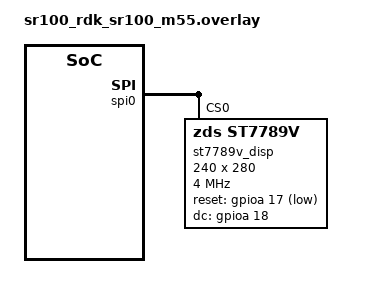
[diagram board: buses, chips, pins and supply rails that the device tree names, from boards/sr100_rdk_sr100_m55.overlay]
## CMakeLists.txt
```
cmake_minimum_required(VERSION 3.20.0)

# Custom "zds,st7789v" devicetree binding (same as Lab 11/12) -- DTS_ROOT
# must be extended BEFORE find_package(Zephyr...) runs, or the
# devicetree compiler won't find it.
list(APPEND DTS_ROOT ${CMAKE_CURRENT_SOURCE_DIR})

find_package(Zephyr REQUIRED HINTS $ENV{ZEPHYR_BASE})
project(lab13_uart_bridge_host)

target_sources(app PRIVATE src/main.c)
target_include_directories(app PRIVATE include)
```

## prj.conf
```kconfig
CONFIG_MBOX=y
CONFIG_SPI=y
CONFIG_GPIO=y
# No CONFIG_DISPLAY / CONFIG_CHARACTER_FRAMEBUFFER / CONFIG_ST7789V -- same
# raw-SPI approach as Lab 11/12 (see Lab 11's prj.conf comment).
CONFIG_MAIN_STACK_SIZE=4096
# ns16550_uart1 (M55's only UART/console) is disabled in the devicetree
# overlay because SPI0 reuses its pins -- see Lab 11's prj.conf comment
# for why CONFIG_UART_CONSOLE=n/CONFIG_CONSOLE=n (and NOT CONFIG_SERIAL=n)
# is the correct fix. This does NOT affect M4's own console UART, which
# this lab's new command channel uses -- that one is untouched here.
CONFIG_UART_CONSOLE=n
CONFIG_CONSOLE=n
CONFIG_LOG=y
CONFIG_LOG_DEFAULT_LEVEL=3
CONFIG_PRINTK=y
```

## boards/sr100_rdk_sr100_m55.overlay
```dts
#include <zephyr/dt-bindings/gpio/gpio.h>

/* Lab 13 reuses this overlay UNCHANGED from Lab 12 -- same TFT wiring on
 * SPI0, no new hardware. */

/* ipc0 shared-memory-size must match the M4 overlay in remote/boards/ exactly. */
&ipc0 {
	shared-memory-size = <0x400>;
};

/*
 * This lab's sensors (AHT20+BMP280) live on M4's &i2c0, not the shared
 * &i2c1 bus -- so unlike every other lab in this curriculum, M55
 * disabling &i2c1 here isn't strictly required for THIS lab's own
 * sensors. It's kept anyway for consistency with the rest of the
 * curriculum (M55 never uses i2c1 in any lab) and because it's harmless.
 */
&i2c1 {
	status = "disabled";
};

&gpio_exp0 {
	status = "disabled";
};

&ov02c10 {
	status = "disabled";
};

/*
 * ST7789V3 1.69" 240x280 color TFT on M55's SPI0 -- identical setup to
 * Lab 11 (same panel, same wiring, same raw-SPI "zds,st7789v" custom
 * binding). See Lab 11's doc/README for the full rationale (why raw SPI
 * instead of Zephyr's in-tree display driver, the level-shifter
 * requirement, the SPI0 FIFO chunking, and the SPI0/UART1 console pin
 * conflict this creates).
 */
&ns16550_uart1 {
	status = "disabled";
};

&spi0 {
	#address-cells = <1>;
	#size-cells = <0>;
	status = "okay";
	pinctrl-0 = <&spi_mstr_mosi &spi_mstr_miso &spi_mstr_clk &spi_mstr_cs>;
	pinctrl-names = "default";

	st7789v_disp: st7789v@0 {
		compatible = "zds,st7789v";
		reg = <0>;
		spi-max-frequency = <4000000>;
		reset-gpios = <&gpioa 17 GPIO_ACTIVE_LOW>;  /* SoC GPIO17, J24 pin 3 - through level shifter */
		dc-gpios = <&gpioa 18 GPIO_ACTIVE_HIGH>;    /* SoC GPIO18, J24 pin 4 - through level shifter */
		width = <240>;
		height = <280>;
		x-offset = <0>;
		y-offset = <20>;
	};
};
```

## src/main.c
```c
/*
 * Lab 13: UART Bridge (HOST, M55)
 *
 * Same ST7789V3 TFT hardware setup as Lab 11/12 (identical panel,
 * identical SPI0/RESET/DC wiring, identical raw-SPI driver -- see this
 * lab's doc/13_uart_bridge_kr.md for the full pin table and
 * level-shifter rationale, reproduced there rather than only in Lab
 * 11/12's docs, since each lab in this curriculum is meant to be
 * buildable and understandable on its own) and the same two independent
 * fault indicators (connection status, sensor status) from Lab 12.
 *
 * NEW in this lab: M55 also answers operator commands relayed from M4's
 * console UART (see M4's main.c and this lab's doc). Two things arrive
 * on the SAME mbox rx channel now, told apart by `ipc13_msg.type`:
 *   - IPC13_MSG_ENV: routed to env_msgq, handled by Display_Task exactly
 *     as Lab 12's env messages were.
 *   - IPC13_MSG_CMD: routed to cmd_msgq, handled by the new Cmd_Task,
 *     which replies on the SAME mbox tx channel with an IPC13_MSG_RESP.
 * `latest` (the most recent sensor reading + connection state) is
 * written only by Display_Task and read only by Cmd_Task (for the
 * STATUS command), guarded by `latest_lock` so a command answered mid-
 * update can't see a half-written value.
 *
 * `display_mode` (set by the MODE command) is a plain atomic_t rather
 * than a mutex-guarded struct, since it's a single word Cmd_Task writes
 * and Display_Task reads -- see draw_extra_line().
 */

#include <zephyr/kernel.h>
#include <zephyr/device.h>
#include <zephyr/devicetree.h>
#include <zephyr/drivers/spi.h>
#include <zephyr/drivers/gpio.h>
#include <zephyr/drivers/mbox.h>
#include <zephyr/logging/log.h>
#include <zephyr/sys/util.h>
#include <zephyr/sys/atomic.h>
#include <stdbool.h>
#include <stdio.h>
#include <string.h>
#include <stdlib.h>
#include "ipc_common.h"

LOG_MODULE_REGISTER(lab13_host, CONFIG_LOG_DEFAULT_LEVEL);

#define TASK_STACK_SIZE 2048
#define TASK_PRIORITY   4
#define CMD_TASK_STACK_SIZE 1536
#define CMD_TASK_PRIORITY   4
#define POLL_TIMEOUT_MS 500
#define CONN_TIMEOUT_MS 2000

K_THREAD_STACK_DEFINE(task_stack, TASK_STACK_SIZE);
static struct k_thread task_data;
K_THREAD_STACK_DEFINE(cmd_task_stack, CMD_TASK_STACK_SIZE);
static struct k_thread cmd_task_data;

K_MSGQ_DEFINE(env_msgq, sizeof(struct ipc13_env_payload), 4, 4);
K_MSGQ_DEFINE(cmd_msgq, sizeof(struct ipc13_cmd_payload), 4, 4);

static struct mbox_dt_spec tx_channel;

static ATOMIC_DEFINE(display_mode, 1);

enum conn_state { CONN_WAITING, CONN_OK, CONN_LOST };

static struct k_mutex latest_lock;
static struct ipc13_env_payload latest_env;
static enum conn_state latest_state = CONN_WAITING;

#define DISP_NODE DT_NODELABEL(st7789v_disp)

#define PANEL_WIDTH   DT_PROP(DISP_NODE, width)
#define PANEL_HEIGHT  DT_PROP(DISP_NODE, height)
#define X_OFFSET      DT_PROP(DISP_NODE, x_offset)
#define Y_OFFSET      DT_PROP(DISP_NODE, y_offset)

#define ST7789_SWRESET   0x01
#define ST7789_SLPOUT    0x11
#define ST7789_COLMOD    0x3A
#define ST7789_MADCTL    0x36
#define ST7789_INVON     0x21
#define ST7789_NORON     0x13
#define ST7789_DISPON    0x29
#define ST7789_CASET     0x2A
#define ST7789_RASET     0x2B
#define ST7789_RAMWR     0x2C
#define ST7789_PORCTRL   0xB2
#define ST7789_GCTRL     0xB7
#define ST7789_VCOMS     0xBB
#define ST7789_LCMCTRL   0xC0
#define ST7789_VDVVRHEN  0xC2
#define ST7789_VRHS      0xC3
#define ST7789_VDVS      0xC4
#define ST7789_FRCTRL2   0xC6
#define ST7789_PWCTRL1   0xD0
#define ST7789_PVGAMCTRL 0xE0
#define ST7789_NVGAMCTRL 0xE1

#define COLOR_BLACK   0x0000
#define COLOR_WHITE   0xFFFF
#define COLOR_RED     0xF800
#define COLOR_GREEN   0x07E0
#define COLOR_YELLOW  0xFFE0
#define COLOR_CYAN    0x07FF
#define COLOR_GRAY    0x8410

static const struct spi_dt_spec spi_spec =
	SPI_DT_SPEC_GET(DISP_NODE, SPI_WORD_SET(8) | SPI_TRANSFER_MSB, 0);
static const struct gpio_dt_spec reset_spec = GPIO_DT_SPEC_GET(DISP_NODE, reset_gpios);
static const struct gpio_dt_spec dc_spec = GPIO_DT_SPEC_GET(DISP_NODE, dc_gpios);

struct glyph {
	char ch;
	uint8_t cols[5];
};

/* Same 5x7 font table as Lab 12 -- unchanged, no new characters needed
 * for this lab's own strings. */
static const struct glyph font5x7[] = {
	{' ', {0x00, 0x00, 0x00, 0x00, 0x00}},
	{'-', {0x08, 0x08, 0x08, 0x08, 0x08}},
	{':', {0x00, 0x36, 0x36, 0x00, 0x00}},
	{'.', {0x00, 0x60, 0x60, 0x00, 0x00}},
	{'%', {0x23, 0x13, 0x08, 0x64, 0x62}},
	{'0', {0x3E, 0x51, 0x49, 0x45, 0x3E}},
	{'1', {0x00, 0x42, 0x7F, 0x40, 0x00}},
	{'2', {0x62, 0x51, 0x49, 0x49, 0x46}},
	{'3', {0x22, 0x41, 0x49, 0x49, 0x36}},
	{'4', {0x18, 0x14, 0x12, 0x7F, 0x10}},
	{'5', {0x27, 0x45, 0x45, 0x45, 0x39}},
	{'6', {0x3C, 0x4A, 0x49, 0x49, 0x30}},
	{'7', {0x01, 0x71, 0x09, 0x05, 0x03}},
	{'8', {0x36, 0x49, 0x49, 0x49, 0x36}},
	{'9', {0x06, 0x49, 0x49, 0x29, 0x1E}},
	{'A', {0x7E, 0x11, 0x11, 0x11, 0x7E}},
	{'B', {0x7F, 0x49, 0x49, 0x49, 0x36}},
	{'C', {0x3E, 0x41, 0x41, 0x41, 0x22}},
	{'D', {0x7F, 0x41, 0x41, 0x22, 0x1C}},
	{'E', {0x7F, 0x49, 0x49, 0x49, 0x41}},
	{'G', {0x3E, 0x41, 0x49, 0x49, 0x7A}},
	{'H', {0x7F, 0x08, 0x08, 0x08, 0x7F}},
	{'I', {0x00, 0x41, 0x7F, 0x41, 0x00}},
	{'K', {0x7F, 0x08, 0x14, 0x22, 0x41}},
	{'L', {0x7F, 0x40, 0x40, 0x40, 0x40}},
	{'M', {0x7F, 0x02, 0x0C, 0x02, 0x7F}},
	{'N', {0x7F, 0x02, 0x04, 0x08, 0x7F}},
	{'O', {0x3E, 0x41, 0x41, 0x41, 0x3E}},
	{'P', {0x7F, 0x09, 0x09, 0x09, 0x06}},
	{'Q', {0x3E, 0x41, 0x51, 0x21, 0x5E}},
	{'R', {0x7F, 0x09, 0x19, 0x29, 0x46}},
	{'S', {0x46, 0x49, 0x49, 0x49, 0x31}},
	{'T', {0x01, 0x01, 0x7F, 0x01, 0x01}},
	{'U', {0x3F, 0x40, 0x40, 0x40, 0x3F}},
	{'V', {0x1F, 0x20, 0x40, 0x20, 0x1F}},
	{'X', {0x63, 0x14, 0x08, 0x14, 0x63}},
	{'Y', {0x07, 0x08, 0x70, 0x08, 0x07}},
	{'Z', {0x61, 0x51, 0x49, 0x45, 0x43}},
	{'a', {0x20, 0x54, 0x54, 0x54, 0x78}},
	{'h', {0x7F, 0x08, 0x04, 0x04, 0x78}},
};

static const uint8_t *glyph_lookup(char c)
{
	static const uint8_t blank[5] = {0x00, 0x00, 0x00, 0x00, 0x00};

	for (size_t i = 0; i < ARRAY_SIZE(font5x7); i++) {
		if (font5x7[i].ch == c) {
			return font5x7[i].cols;
		}
	}
	return blank;
}

#define ST7789_CHUNK_BYTES 8

static int st7789_send(int dc_value, const uint8_t *data, size_t len)
{
	int ret;

	gpio_pin_set_dt(&dc_spec, dc_value);

	while (len) {
		size_t chunk = MIN(len, ST7789_CHUNK_BYTES);
		struct spi_buf buf = { .buf = (void *)data, .len = chunk };
		struct spi_buf_set set = { .buffers = &buf, .count = 1 };

		ret = spi_write_dt(&spi_spec, &set);
		if (ret) {
			LOG_ERR("spi_write_dt(dc=%d, len=%zu) failed, ret=%d", dc_value, chunk, ret);
			return ret;
		}
		data += chunk;
		len -= chunk;
	}

	return 0;
}

static int st7789_write_cmd(uint8_t cmd)
{
	return st7789_send(0, &cmd, 1);
}

static int st7789_write_data(const uint8_t *data, size_t len)
{
	return st7789_send(1, data, len);
}

static int st7789_reset(void)
{
	int ret = gpio_pin_configure_dt(&reset_spec, GPIO_OUTPUT_INACTIVE);

	if (ret) {
		return ret;
	}
	k_sleep(K_MSEC(10));
	gpio_pin_set_dt(&reset_spec, 1);
	k_sleep(K_MSEC(10));
	gpio_pin_set_dt(&reset_spec, 0);
	k_sleep(K_MSEC(150));

	return 0;
}

struct st7789_init_cmd {
	uint8_t cmd;
	uint8_t num_args;
	uint8_t args[16];
	uint16_t delay_ms;
};

static const struct st7789_init_cmd init_seq[] = {
	{ ST7789_SWRESET,   0, {0}, 150 },
	{ ST7789_SLPOUT,    0, {0}, 255 },
	{ ST7789_COLMOD,    1, {0x55}, 10 },
	{ ST7789_PORCTRL,   5, {0x0C, 0x0C, 0x00, 0x33, 0x33}, 0 },
	{ ST7789_GCTRL,     1, {0x35}, 0 },
	{ ST7789_VCOMS,     1, {0x28}, 0 },
	{ ST7789_LCMCTRL,   1, {0x0C}, 0 },
	{ ST7789_VDVVRHEN,  2, {0x01, 0xFF}, 0 },
	{ ST7789_VRHS,      1, {0x10}, 0 },
	{ ST7789_VDVS,      1, {0x20}, 0 },
	{ ST7789_FRCTRL2,   1, {0x0F}, 0 },
	{ ST7789_PWCTRL1,   2, {0xA4, 0xA1}, 0 },
	{ ST7789_MADCTL,    1, {0x00}, 0 },
	{ ST7789_INVON,     0, {0}, 10 },
	{ ST7789_PVGAMCTRL, 14, {0xD0, 0x00, 0x02, 0x07, 0x0A, 0x28, 0x32, 0x44,
				 0x42, 0x06, 0x0E, 0x12, 0x14, 0x17}, 0 },
	{ ST7789_NVGAMCTRL, 14, {0xD0, 0x00, 0x02, 0x07, 0x05, 0x25, 0x2D, 0x44,
				 0x45, 0x10, 0x0E, 0x12, 0x13, 0x17}, 0 },
	{ ST7789_NORON,     0, {0}, 10 },
	{ ST7789_DISPON,    0, {0}, 100 },
};

static int st7789_init(void)
{
	int ret;

	for (size_t i = 0; i < ARRAY_SIZE(init_seq); i++) {
		ret = st7789_write_cmd(init_seq[i].cmd);
		if (ret) return ret;

		if (init_seq[i].num_args) {
			ret = st7789_write_data(init_seq[i].args, init_seq[i].num_args);
			if (ret) return ret;
		}
		if (init_seq[i].delay_ms) {
			k_sleep(K_MSEC(init_seq[i].delay_ms));
		}
	}

	return 0;
}

static int st7789_set_addr_window(uint16_t x0, uint16_t y0, uint16_t x1, uint16_t y1)
{
	uint16_t xs = x0 + X_OFFSET, xe = x1 + X_OFFSET;
	uint16_t ys = y0 + Y_OFFSET, ye = y1 + Y_OFFSET;
	uint8_t caset[4] = { xs >> 8, xs & 0xFF, xe >> 8, xe & 0xFF };
	uint8_t raset[4] = { ys >> 8, ys & 0xFF, ye >> 8, ye & 0xFF };
	int ret;

	ret = st7789_write_cmd(ST7789_CASET);
	if (ret) return ret;
	ret = st7789_write_data(caset, sizeof(caset));
	if (ret) return ret;

	ret = st7789_write_cmd(ST7789_RASET);
	if (ret) return ret;
	ret = st7789_write_data(raset, sizeof(raset));
	if (ret) return ret;

	return st7789_write_cmd(ST7789_RAMWR);
}

static int st7789_fill_rect(uint16_t x, uint16_t y, uint16_t w, uint16_t h, uint16_t color)
{
	uint8_t row[PANEL_WIDTH * 2];
	int ret;

	ret = st7789_set_addr_window(x, y, x + w - 1, y + h - 1);
	if (ret) return ret;

	for (uint16_t i = 0; i < w; i++) {
		row[i * 2] = color >> 8;
		row[i * 2 + 1] = color & 0xFF;
	}

	for (uint16_t line = 0; line < h; line++) {
		ret = st7789_write_data(row, (size_t)w * 2);
		if (ret) return ret;
	}

	return 0;
}

static int st7789_draw_char(uint16_t x, uint16_t y, char c, uint16_t fg, uint16_t bg, uint8_t scale)
{
	const uint8_t *glyph = glyph_lookup(c);
	uint8_t row[5 * 8 * 2];
	int ret;

	ret = st7789_set_addr_window(x, y, x + 5 * scale - 1, y + 7 * scale - 1);
	if (ret) return ret;

	for (uint8_t srow = 0; srow < 7; srow++) {
		for (uint8_t scol = 0; scol < 5; scol++) {
			bool on = (glyph[scol] >> srow) & 0x1;
			uint16_t color = on ? fg : bg;

			for (uint8_t sx = 0; sx < scale; sx++) {
				size_t idx = (scol * scale + sx) * 2;

				row[idx] = color >> 8;
				row[idx + 1] = color & 0xFF;
			}
		}
		for (uint8_t sy = 0; sy < scale; sy++) {
			ret = st7789_write_data(row, (size_t)5 * scale * 2);
			if (ret) return ret;
		}
	}

	return 0;
}

static int st7789_draw_string(uint16_t x, uint16_t y, const char *str, uint16_t fg, uint16_t bg, uint8_t scale)
{
	int ret;

	while (*str) {
		ret = st7789_draw_char(x, y, *str++, fg, bg, scale);
		if (ret) return ret;
		x += 6 * scale;
	}
	return 0;
}

static void draw_line(uint16_t x, uint16_t y, const char *text, uint16_t fg, size_t width)
{
	char padded[24];
	size_t len = strlen(text);

	if (width >= sizeof(padded)) {
		width = sizeof(padded) - 1;
	}
	if (len > width) {
		len = width;
	}
	memcpy(padded, text, len);
	for (size_t i = len; i < width; i++) {
		padded[i] = ' ';
	}
	padded[width] = '\0';

	st7789_draw_string(x, y, padded, fg, COLOR_BLACK, 2);
}

static void format_milli_1dp(int32_t milli, char *out, size_t outsz)
{
	bool neg = milli < 0;
	int32_t m = neg ? -milli : milli;
	int32_t whole = m / 1000;
	int32_t frac = (m % 1000) / 100;

	snprintf(out, outsz, "%s%d.%d", neg ? "-" : "", whole, frac);
}

static void draw_status(enum conn_state state)
{
	uint16_t icon_color;
	const char *label;

	switch (state) {
	case CONN_OK:
		icon_color = COLOR_GREEN;
		label = "OK";
		break;
	case CONN_LOST:
		icon_color = COLOR_RED;
		label = "LOST";
		break;
	default:
		icon_color = COLOR_GRAY;
		label = "WAIT";
		break;
	}

	st7789_fill_rect(10, 40, 16, 16, icon_color);
	draw_line(34, 40, label, COLOR_WHITE, 6);
}

static void draw_sensor_status(uint8_t error_mask)
{
	uint16_t icon_color;
	const char *label;

	if (!error_mask) {
		icon_color = COLOR_GREEN;
		label = "SENSOR OK";
	} else if ((error_mask & (IPC13_ERROR_AHT20 | IPC13_ERROR_BMP280)) ==
		   (IPC13_ERROR_AHT20 | IPC13_ERROR_BMP280)) {
		icon_color = COLOR_RED;
		label = "SENSOR ERR";
	} else if (error_mask & IPC13_ERROR_AHT20) {
		icon_color = COLOR_RED;
		label = "AHT20 ERR";
	} else {
		icon_color = COLOR_RED;
		label = "BMP280 ERR";
	}

	st7789_fill_rect(10, 62, 16, 16, icon_color);
	draw_line(34, 62, label, COLOR_WHITE, 11);
}

/*
 * NEW in this lab -- an extra status line at the bottom of the screen
 * that the operator's UART "MODE" command turns on/off. Mode 0 (the
 * default, same as every earlier lab's screen) leaves it blank; mode 1
 * shows the latest message sequence number and M55's own uptime, a
 * simple example of a UART command actually changing what's on screen.
 * Only redrawn when a new ENV message arrives (see task_entry()), so a
 * MODE command's effect shows up on the NEXT periodic/event update, not
 * instantly -- documented in this lab's doc as an accepted simplification.
 */
static void draw_extra_line(uint32_t seq)
{
	char line[24];

	if (atomic_test_bit(display_mode, 0)) {
		/* Cast to uint32_t (not %lld on int64_t) -- this curriculum's
		 * minimal libc printf backend isn't guaranteed to support
		 * 64-bit format specifiers, and uptime-in-seconds comfortably
		 * fits in 32 bits for this lab's purposes. */
		uint32_t uptime_s = (uint32_t)(k_uptime_get() / 1000);

		snprintf(line, sizeof(line), "SEQ:%u UP:%us", seq, uptime_s);
		draw_line(10, 180, line, COLOR_YELLOW, 18);
	} else {
		draw_line(10, 180, "", COLOR_YELLOW, 18);
	}
}

static void rx_cb(const struct device *dev, mbox_channel_id_t channel_id,
		   void *user_data, struct mbox_msg *data)
{
	struct ipc13_msg msg;

	ARG_UNUSED(dev);
	ARG_UNUSED(channel_id);
	ARG_UNUSED(user_data);

	if (data->size < sizeof(msg)) {
		return;
	}
	memcpy(&msg, data->data, sizeof(msg));

	/* ISR-safe: pure memcpy + k_msgq_put, no drawing, no mbox_send_dt()
	 * here -- Display_Task and Cmd_Task do the actual work. */
	if (msg.type == IPC13_MSG_ENV) {
		k_msgq_put(&env_msgq, &msg.env, K_NO_WAIT);
	} else if (msg.type == IPC13_MSG_CMD) {
		k_msgq_put(&cmd_msgq, &msg.cmd, K_NO_WAIT);
	}
	/* IPC13_MSG_RESP is never expected here -- M55 only sends it, never
	 * receives it -- and is ignored if it somehow arrived. */
}

static void task_entry(void *p1, void *p2, void *p3)
{
	struct ipc13_env_payload msg;
	char line[24];
	int64_t last_rx_uptime = 0;
	bool ever_connected = false;
	enum conn_state state = CONN_WAITING;

	ARG_UNUSED(p1);
	ARG_UNUSED(p2);
	ARG_UNUSED(p3);

	LOG_INF("[Display_Task] started");

	if (!spi_is_ready_dt(&spi_spec)) {
		LOG_ERR("SPI0 device not ready - check devicetree status/overlay");
		return;
	}
	if (!gpio_is_ready_dt(&reset_spec) || !gpio_is_ready_dt(&dc_spec)) {
		LOG_ERR("RST/DC GPIO controller not ready");
		return;
	}
	if (gpio_pin_configure_dt(&dc_spec, GPIO_OUTPUT_INACTIVE)) {
		LOG_ERR("DC GPIO configure failed");
		return;
	}
	if (st7789_reset()) {
		LOG_ERR("Panel reset failed - check RST wiring");
		return;
	}
	if (st7789_init()) {
		LOG_ERR("ST7789 init failed (SPI write error) - check wiring / level shifter");
		return;
	}

	st7789_fill_rect(0, 0, PANEL_WIDTH, PANEL_HEIGHT, COLOR_BLACK);
	st7789_draw_string(10, 10, "LAB13 BRIDGE", COLOR_YELLOW, COLOR_BLACK, 2);
	draw_status(CONN_WAITING);
	draw_sensor_status(0);
	draw_line(10, 90, "T:--", COLOR_WHITE, 12);
	draw_line(10, 120, "H:--", COLOR_WHITE, 12);
	draw_line(10, 150, "P:--", COLOR_WHITE, 12);
	draw_extra_line(0);

	while (1) {
		int ret = k_msgq_get(&env_msgq, &msg, K_MSEC(POLL_TIMEOUT_MS));

		if (ret == 0) {
			last_rx_uptime = k_uptime_get();
			ever_connected = true;
			if (state != CONN_OK) {
				state = CONN_OK;
				draw_status(state);
			}

			char temp_str[8], hum_str[8], press_str[8];
			bool have_aht20 = (msg.sensor_mask & IPC13_SENSOR_AHT20) != 0;
			bool have_bmp280 = (msg.sensor_mask & IPC13_SENSOR_BMP280) != 0;
			bool aht20_failing = (msg.error_mask & IPC13_ERROR_AHT20) != 0;
			bool bmp280_failing = (msg.error_mask & IPC13_ERROR_BMP280) != 0;

			draw_sensor_status(msg.error_mask);

			if (have_aht20 && !aht20_failing) {
				format_milli_1dp(msg.temp_milli_c, temp_str, sizeof(temp_str));
				snprintf(line, sizeof(line), "T:%sC", temp_str);
			} else if (have_bmp280 && !bmp280_failing) {
				format_milli_1dp(msg.temp_milli_c, temp_str, sizeof(temp_str));
				snprintf(line, sizeof(line), "T:%sC(bmp)", temp_str);
			} else if (have_aht20 || have_bmp280) {
				snprintf(line, sizeof(line), "T:ERR");
			} else {
				snprintf(line, sizeof(line), "T:N/A");
			}
			draw_line(10, 90, line, COLOR_RED, 12);

			if (have_aht20 && !aht20_failing) {
				format_milli_1dp(msg.humidity_milli_pct, hum_str, sizeof(hum_str));
				snprintf(line, sizeof(line), "H:%s%%", hum_str);
			} else if (have_aht20) {
				snprintf(line, sizeof(line), "H:ERR");
			} else {
				snprintf(line, sizeof(line), "H:N/A");
			}
			draw_line(10, 120, line, COLOR_GREEN, 12);

			if (have_bmp280 && !bmp280_failing) {
				format_milli_1dp(msg.pressure_milli_hpa, press_str, sizeof(press_str));
				snprintf(line, sizeof(line), "P:%shPa", press_str);
			} else if (have_bmp280) {
				snprintf(line, sizeof(line), "P:ERR");
			} else {
				snprintf(line, sizeof(line), "P:N/A");
			}
			draw_line(10, 150, line, COLOR_CYAN, 12);

			draw_extra_line(msg.seq);

			k_mutex_lock(&latest_lock, K_FOREVER);
			latest_env = msg;
			latest_state = state;
			k_mutex_unlock(&latest_lock);

			LOG_INF("[Display_Task] seq=%u reason=%u mask=0x%x err=0x%x temp=%d hum=%d press=%d",
				msg.seq, msg.reason, msg.sensor_mask, msg.error_mask,
				msg.temp_milli_c, msg.humidity_milli_pct, msg.pressure_milli_hpa);
		} else if (ever_connected && state != CONN_LOST &&
			   (k_uptime_get() - last_rx_uptime) >= CONN_TIMEOUT_MS) {
			state = CONN_LOST;
			draw_status(state);
			k_mutex_lock(&latest_lock, K_FOREVER);
			latest_state = state;
			k_mutex_unlock(&latest_lock);
			LOG_WRN("[Display_Task] no message from M4 in %d ms - marked disconnected",
				CONN_TIMEOUT_MS);
		}
	}
}

static void cmd_task_entry(void *p1, void *p2, void *p3)
{
	struct ipc13_cmd_payload cmd;

	ARG_UNUSED(p1);
	ARG_UNUSED(p2);
	ARG_UNUSED(p3);

	LOG_INF("[Cmd_Task] started");

	while (1) {
		if (k_msgq_get(&cmd_msgq, &cmd, K_FOREVER) != 0) {
			continue;
		}

		struct ipc13_resp_payload resp = {.cmd = cmd.cmd, .seq = cmd.seq};

		switch (cmd.cmd) {
		case IPC13_CMD_PING:
			resp.ok = 1;
			snprintf(resp.text, sizeof(resp.text), "PONG");
			break;

		case IPC13_CMD_STATUS: {
			struct ipc13_env_payload env;
			enum conn_state state;
			char temp_str[8], hum_str[8], press_str[8];
			static const char *const state_str[] = {"WAIT", "OK", "LOST"};

			k_mutex_lock(&latest_lock, K_FOREVER);
			env = latest_env;
			state = latest_state;
			k_mutex_unlock(&latest_lock);

			format_milli_1dp(env.temp_milli_c, temp_str, sizeof(temp_str));
			format_milli_1dp(env.humidity_milli_pct, hum_str, sizeof(hum_str));
			format_milli_1dp(env.pressure_milli_hpa, press_str, sizeof(press_str));

			resp.ok = 1;
			snprintf(resp.text, sizeof(resp.text), "T:%sC H:%s%% P:%shPa CONN:%s ERR:0x%x",
				 temp_str, hum_str, press_str, state_str[state], env.error_mask);
			break;
		}

		case IPC13_CMD_MODE:
			if (cmd.arg == 0 || cmd.arg == 1) {
				atomic_set_bit_to(display_mode, 0, cmd.arg == 1);
				resp.ok = 1;
				snprintf(resp.text, sizeof(resp.text), "MODE %u OK", cmd.arg);
			} else {
				resp.ok = 0;
				snprintf(resp.text, sizeof(resp.text), "MODE must be 0 or 1");
			}
			break;

		default:
			resp.ok = 0;
			snprintf(resp.text, sizeof(resp.text), "internal error: bad cmd %u", cmd.cmd);
			break;
		}

		struct ipc13_msg msg = {.type = IPC13_MSG_RESP, .resp = resp};
		struct mbox_msg mbox_msg = {.data = &msg, .size = sizeof(msg)};

		mbox_send_dt(&tx_channel, &mbox_msg);
		LOG_INF("[Cmd_Task] cmd=%u arg=%u seq=%u -> ok=%u \"%s\"",
			cmd.cmd, cmd.arg, cmd.seq, resp.ok, resp.text);
	}
}

int main(void)
{
	struct mbox_dt_spec rx_channel;

	LOG_INF("Lab13 UART Bridge HOST - %s", CONFIG_BOARD_TARGET);

	k_mutex_init(&latest_lock);

	tx_channel = (struct mbox_dt_spec)MBOX_DT_SPEC_GET(DT_PATH(mbox_consumer), tx);
	rx_channel = (struct mbox_dt_spec)MBOX_DT_SPEC_GET(DT_PATH(mbox_consumer), rx);

	if (mbox_register_callback_dt(&rx_channel, rx_cb, NULL)) {
		LOG_ERR("mbox_register_callback() failed");
		return -EIO;
	}
	if (mbox_set_enabled_dt(&rx_channel, 1)) {
		LOG_ERR("mbox_set_enabled() failed");
		return -EIO;
	}

	k_thread_create(&task_data, task_stack, K_THREAD_STACK_SIZEOF(task_stack),
			task_entry, NULL, NULL, NULL, TASK_PRIORITY, 0, K_NO_WAIT);
	k_thread_name_set(&task_data, "Display_Task");

	k_thread_create(&cmd_task_data, cmd_task_stack, K_THREAD_STACK_SIZEOF(cmd_task_stack),
			cmd_task_entry, NULL, NULL, NULL, CMD_TASK_PRIORITY, 0, K_NO_WAIT);
	k_thread_name_set(&cmd_task_data, "Cmd_Task");

	while (1) {
		k_sleep(K_FOREVER);
	}
	return 0;
}
```

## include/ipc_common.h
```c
#ifndef IPC_COMMON_H_
#define IPC_COMMON_H_

#include <zephyr/kernel.h>

/*
 * This lab multiplexes THREE kinds of traffic onto the same mbox
 * tx/rx channel pair (see the M4/M55 main.c files for how each side
 * uses its tx and rx channel):
 *
 *   - IPC13_MSG_ENV  (M4 -> M55): periodic/event sensor telemetry --
 *     structurally identical to Lab 12's ipc12_env_msg, just wrapped in
 *     the tagged envelope below so it can share the channel with the
 *     new command traffic.
 *   - IPC13_MSG_CMD  (M4 -> M55): one operator command, typed into a
 *     terminal connected to M4's own console UART and relayed here by
 *     M4's Uart_Cmd_Task.
 *   - IPC13_MSG_RESP (M55 -> M4): M55's answer to one IPC13_MSG_CMD.
 *
 * The `type` tag at the front of the envelope tells the receiver which
 * union member to read. This is the same "command type field" idea
 * Lab 06 introduced, used here to combine two genuinely different
 * traffic patterns -- one-way periodic telemetry, and two-way
 * request/response -- on a single channel instead of only multiplexing
 * variants of one request type.
 */
enum ipc13_msg_type {
	IPC13_MSG_ENV  = 0,
	IPC13_MSG_CMD  = 1,
	IPC13_MSG_RESP = 2,
};

/* --- Sensor bitmasks / reasons, unchanged from Lab 12 --- */
#define IPC13_SENSOR_AHT20   BIT(0)
#define IPC13_SENSOR_BMP280  BIT(1)
#define IPC13_ERROR_AHT20    BIT(0)
#define IPC13_ERROR_BMP280   BIT(1)

enum ipc13_env_reason {
	IPC13_REASON_PERIODIC      = 0,
	IPC13_REASON_TEMP_JUMP     = 1,
	IPC13_REASON_PRESSURE_JUMP = 2,
	IPC13_REASON_SENSOR_ERROR  = 3,
};

struct ipc13_env_payload {
	int32_t temp_milli_c;
	int32_t humidity_milli_pct;
	int32_t pressure_milli_hpa;
	uint32_t seq;
	uint8_t sensor_mask;
	uint8_t error_mask;
	uint8_t reason;
};

/* --- Operator command relay (new in this lab) --- */
/* Operator types a single-digit number (not a word) into M4's console --
 * 1=PING, 2=STATUS, 3 <0|1>=MODE. See parse_command() in M4's main.c.
 *
 * NOTE: command "4 <0|1>" (periodic console-log on/off) also exists but
 * is intentionally NOT in this enum and never crosses mbox at all --
 * M4's handle_local_command() in main.c handles it entirely on M4,
 * since it has nothing to do with M55. Not every operator command needs
 * (or should get) a round trip; see that function's comment. */
enum ipc13_cmd {
	IPC13_CMD_PING   = 0, /* no argument -- M55 answers "PONG" */
	IPC13_CMD_STATUS = 1, /* no argument -- M55 answers with the latest
			       * sensor reading + connection state as text */
	IPC13_CMD_MODE   = 2, /* arg = 0 or 1 -- selects what Lab 13's extra
			       * status line on the TFT shows (see M55's
			       * main.c draw_extra_line()) */
};

struct ipc13_cmd_payload {
	uint8_t cmd;  /* enum ipc13_cmd */
	uint8_t arg;  /* only meaningful for IPC13_CMD_MODE */
	uint32_t seq; /* echoed back in the matching RESP -- not used for
		       * reordering in this lab, but shows the pattern that a
		       * busier request/response protocol would need. */
};

#define IPC13_RESP_TEXT_MAX 40

struct ipc13_resp_payload {
	uint8_t cmd;  /* which IPC13_CMD_* this answers */
	uint8_t ok;   /* 1 = command accepted, 0 = rejected (see text) */
	uint32_t seq; /* copied from the matching ipc13_cmd_payload.seq */
	char text[IPC13_RESP_TEXT_MAX];
};

struct ipc13_msg {
	uint8_t type; /* enum ipc13_msg_type */
	union {
		struct ipc13_env_payload  env;
		struct ipc13_cmd_payload  cmd;
		struct ipc13_resp_payload resp;
	};
};

/* Longest UART command line accepted from the operator terminal
 * (including any argument, excluding the newline) -- "3 1" easily fits;
 * sized with headroom for a friendlier future command set. Anything
 * longer than this is truncated by Uart_Cmd_Task's polling loop, not
 * rejected outright. */
#define IPC13_LINE_MAX 32

#endif
```
